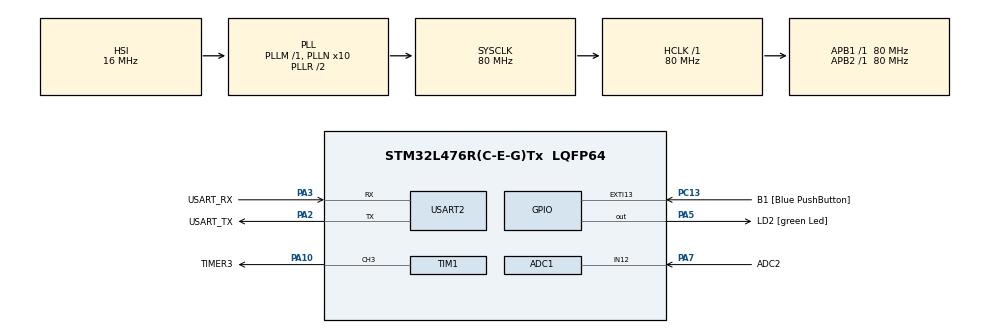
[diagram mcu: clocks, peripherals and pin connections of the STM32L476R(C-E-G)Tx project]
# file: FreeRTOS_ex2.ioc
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ADC1.Channel-1\#ChannelRegularConversion=ADC_CHANNEL_12
ADC1.ClockPrescaler=ADC_CLOCK_ASYNC_DIV8
ADC1.DMAContinuousRequests=ENABLE
ADC1.ExternalTrigConv=ADC_EXTERNALTRIG_T6_TRGO
ADC1.NbrOfConversionFlag=1
ADC1.OffsetNumber-1\#ChannelRegularConversion=ADC_OFFSET_NONE
ADC1.Rank-1\#ChannelRegularConversion=1
ADC1.SamplingTime-1\#ChannelRegularConversion=ADC_SAMPLETIME_640CYCLES_5
ADC1.master=1
Dma.ADC1.0.Direction=DMA_PERIPH_TO_MEMORY
Dma.ADC1.0.Instance=DMA1_Channel1
Dma.ADC1.0.MemDataAlignment=DMA_MDATAALIGN_HALFWORD
Dma.ADC1.0.MemInc=DMA_MINC_ENABLE
Dma.ADC1.0.Mode=DMA_CIRCULAR
Dma.ADC1.0.PeriphDataAlignment=DMA_PDATAALIGN_HALFWORD
Dma.ADC1.0.PeriphInc=DMA_PINC_DISABLE
Dma.ADC1.0.Priority=DMA_PRIORITY_LOW
Dma.Request0=ADC1
Mcu.Family=STM32L4
Mcu.Name=STM32L476R(C-E-G)Tx
Mcu.Package=LQFP64
Mcu.UserConstants=TIM_PRESCALER,7999;TIM_PERIOD,9999
NVIC.DMA1_Channel1_IRQn=true\:0\:0\:false\:false\:true\:false\:true
NVIC.PriorityGroup=NVIC_PRIORITYGROUP_4
NVIC.TIM6_DAC_IRQn=true\:0\:0\:false\:false\:true\:true\:true
PA10.GPIO_Label=TIMER3
PA10.Signal=S_TIM1_CH3
PA13\ (JTMS-SWDIO).GPIO_Label=TMS
PA13\ (JTMS-SWDIO).Mode=Serial_Wire
PA13\ (JTMS-SWDIO).Signal=SYS_JTMS-SWDIO
PA14\ (JTCK-SWCLK).GPIO_Label=TCK
PA14\ (JTCK-SWCLK).Mode=Serial_Wire
PA14\ (JTCK-SWCLK).Signal=SYS_JTCK-SWCLK
PA2.GPIO_Label=USART_TX
PA2.GPIO_Mode=GPIO_MODE_AF_PP
PA2.GPIO_PuPd=GPIO_NOPULL
PA2.GPIO_Speed=GPIO_SPEED_FREQ_VERY_HIGH
PA2.Mode=Asynchronous
PA2.Signal=USART2_TX
PA3.GPIO_Label=USART_RX
PA3.GPIO_Mode=GPIO_MODE_AF_PP
PA3.GPIO_PuPd=GPIO_NOPULL
PA3.GPIO_Speed=GPIO_SPEED_FREQ_VERY_HIGH
PA3.Mode=Asynchronous
PA3.Signal=USART2_RX
PA5.GPIO_Label=LD2 [green Led]
PA5.GPIO_ModeDefaultOutputPP=GPIO_MODE_OUTPUT_PP
PA5.GPIO_PuPd=GPIO_NOPULL
PA5.GPIO_Speed=GPIO_SPEED_FREQ_LOW
PA5.Signal=GPIO_Output
PA7.GPIO_Label=ADC2
PA7.Signal=ADCx_IN12
PB3\ (JTDO-TRACESWO).GPIO_Label=SWO
PB3\ (JTDO-TRACESWO).Signal=SYS_JTDO-SWO
PC13.GPIO_Label=B1 [Blue PushButton]
PC13.GPIO_ModeDefaultEXTI=GPIO_MODE_IT_FALLING
PC13.GPIO_PuPd=GPIO_NOPULL
PC13.Signal=GPXTI13
PC14-OSC32_IN\ (PC14).Mode=LSE-External-Oscillator
PC14-OSC32_IN\ (PC14).Signal=RCC_OSC32_IN
PC15-OSC32_OUT\ (PC15).Mode=LSE-External-Oscillator
PC15-OSC32_OUT\ (PC15).Signal=RCC_OSC32_OUT
PH0-OSC_IN\ (PH0).Signal=RCC_OSC_IN
PH1-OSC_OUT\ (PH1).Signal=RCC_OSC_OUT
ProjectManager.HeapSize=0x200
ProjectManager.StackSize=0x400
ProjectManager.TargetToolchain=STM32CubeIDE
RCC.ADCFreq_Value=64000000
RCC.AHBFreq_Value=80000000
RCC.APB1Freq_Value=80000000
RCC.APB1TimFreq_Value=80000000
RCC.APB2Freq_Value=80000000
RCC.APB2TimFreq_Value=80000000
RCC.CortexFreq_Value=80000000
RCC.HCLKFreq_Value=80000000
RCC.HSE_VALUE=8000000
RCC.HSI_VALUE=16000000
RCC.MSI_VALUE=4000000
RCC.PLLN=10
RCC.PLLSourceVirtual=RCC_PLLSOURCE_HSI
RCC.PREFETCH_ENABLE=1
RCC.SYSCLKFreq_VALUE=80000000
RCC.SYSCLKSource=RCC_SYSCLKSOURCE_PLLCLK
RCC.USBFreq_Value=64000000
RCC.VCOOutputFreq_Value=160000000
SH.ADCx_IN12.0=ADC1_IN12,IN12-Single-Ended
SH.S_TIM1_CH3.0=TIM1_CH3,PWM Generation3 CH3
TIM1.Channel-PWM\ Generation3\ CH3=TIM_CHANNEL_3
TIM1.Period=5999
TIM1.Prescaler=39999
TIM1.Pulse-PWM\ Generation3\ CH3=2999
TIM6.Period=TIM_PERIOD
TIM6.Prescaler=TIM_PRESCALER
TIM6.TIM_MasterOutputTrigger=TIM_TRGO_UPDATE
USART2.VirtualMode-Asynchronous=VM_ASYNC
VP_TIM6_VS_ClockSourceINT.Mode=Enable_Timer
board=NUCLEO-L476RG

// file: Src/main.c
/* USER CODE BEGIN Header */
/**
 ******************************************************************************
 * @file           : main.c
 * @brief          : Main program body
 ******************************************************************************
 * @attention
 *
 * <h2><center>&copy; Copyright (c) 2019 STMicroelectronics.
 * All rights reserved.</center></h2>
 *
 * This software component is licensed by ST under BSD 3-Clause license,
 * the "License"; You may not use this file except in compliance with the
 * License. You may obtain a copy of the License at:
 *                        opensource.org/licenses/BSD-3-Clause
 *
 ******************************************************************************
 */
/* USER CODE END Header */
#include "main.h"
#include "adc.h"
#include "dma.h"
#include "tim.h"
#include "usart.h"
#include "gpio.h"

/* USER CODE BEGIN Includes */

// --> include all necessary headers for
// printf() redirection
// FreeRTOS related headers
/* USER CODE END Includes */

void SystemClock_Config(void);

/* USER CODE BEGIN 0 */

enum QueueStatus {
	QueueOK, QueueWriteProblem, QueueEmpty, QueueCantRead
};

enum QueueMessages {
	QueueMsgNoData, QueueMsgNewData, QueueMsgNewDataChange,
};

uint16_t measurement;
uint8_t queueError = QueueOK;
SemaphoreHandle_t mutex;
QueueHandle_t queue;

void measureTask(void *args) {
	TickType_t xLastWakeTime;
	BaseType_t xStatus;

	xLastWakeTime = xTaskGetTickCount();

	for (;;) {

	}
}

void commTask(void *args) {
	TickType_t xLastWakeTime;
	uint16_t measurement_local = 0;
	uint16_t flag_local;
	uint16_t histeresis = 0;
	BaseType_t queue_size;
	BaseType_t xStatus;

	xLastWakeTime = xTaskGetTickCount();

	for (;;) {

	}
}

/* USER CODE END 0 */

int main(void)
{

  /* MCU Configuration--------------------------------------------------------*/

  /* Reset of all peripherals, Initializes the Flash interface and the Systick. */
  HAL_Init();

  /* Configure the system clock */
  SystemClock_Config();

  /* Initialize all configured peripherals */
  MX_GPIO_Init();
  MX_DMA_Init();
  MX_USART2_UART_Init();
  MX_ADC1_Init();
  MX_TIM6_Init();
  MX_TIM1_Init();
  /* USER CODE BEGIN 2 */

	// --> start TIM1 to generate PWM signal on TIMER3 connector
	// --> start TIM6 in interrupt
	// --> start ADC1 in DMA mode
	// --> create a mutex
	// --> create a queue
	// --> create all necessary tasks
	printf("Starting!\r\n");

	// --> start FreeRTOS scheduler

  /* USER CODE END 2 */

  /* Infinite loop */
	while (1) {

	}
}

void SystemClock_Config(void)
{
  RCC_OscInitTypeDef RCC_OscInitStruct = {0};
  RCC_ClkInitTypeDef RCC_ClkInitStruct = {0};
  RCC_PeriphCLKInitTypeDef PeriphClkInit = {0};

  /** Initializes the RCC Oscillators according to the specified parameters
  * in the RCC_OscInitTypeDef structure.
  */
  RCC_OscInitStruct.OscillatorType = RCC_OSCILLATORTYPE_HSI;
  RCC_OscInitStruct.HSIState = RCC_HSI_ON;
  RCC_OscInitStruct.HSICalibrationValue = RCC_HSICALIBRATION_DEFAULT;
  RCC_OscInitStruct.PLL.PLLState = RCC_PLL_ON;
  RCC_OscInitStruct.PLL.PLLSource = RCC_PLLSOURCE_HSI;
  RCC_OscInitStruct.PLL.PLLM = 1;
  RCC_OscInitStruct.PLL.PLLN = 10;
  RCC_OscInitStruct.PLL.PLLP = RCC_PLLP_DIV7;
  RCC_OscInitStruct.PLL.PLLQ = RCC_PLLQ_DIV2;
  RCC_OscInitStruct.PLL.PLLR = RCC_PLLR_DIV2;
  if (HAL_RCC_OscConfig(&RCC_OscInitStruct) != HAL_OK)
  {
    Error_Handler();
  }
  /** Initializes the CPU, AHB and APB buses clocks
  */
  RCC_ClkInitStruct.ClockType = RCC_CLOCKTYPE_HCLK|RCC_CLOCKTYPE_SYSCLK
                              |RCC_CLOCKTYPE_PCLK1|RCC_CLOCKTYPE_PCLK2;
  RCC_ClkInitStruct.SYSCLKSource = RCC_SYSCLKSOURCE_PLLCLK;
  RCC_ClkInitStruct.AHBCLKDivider = RCC_SYSCLK_DIV1;
  RCC_ClkInitStruct.APB1CLKDivider = RCC_HCLK_DIV1;
  RCC_ClkInitStruct.APB2CLKDivider = RCC_HCLK_DIV1;

  if (HAL_RCC_ClockConfig(&RCC_ClkInitStruct, FLASH_LATENCY_4) != HAL_OK)
  {
    Error_Handler();
  }
  PeriphClkInit.PeriphClockSelection = RCC_PERIPHCLK_USART2|RCC_PERIPHCLK_ADC;
  PeriphClkInit.Usart2ClockSelection = RCC_USART2CLKSOURCE_PCLK1;
  PeriphClkInit.AdcClockSelection = RCC_ADCCLKSOURCE_PLLSAI1;
  PeriphClkInit.PLLSAI1.PLLSAI1Source = RCC_PLLSOURCE_HSI;
  PeriphClkInit.PLLSAI1.PLLSAI1M = 1;
  PeriphClkInit.PLLSAI1.PLLSAI1N = 8;
  PeriphClkInit.PLLSAI1.PLLSAI1P = RCC_PLLP_DIV7;
  PeriphClkInit.PLLSAI1.PLLSAI1Q = RCC_PLLQ_DIV2;
  PeriphClkInit.PLLSAI1.PLLSAI1R = RCC_PLLR_DIV2;
  PeriphClkInit.PLLSAI1.PLLSAI1ClockOut = RCC_PLLSAI1_ADC1CLK;
  if (HAL_RCCEx_PeriphCLKConfig(&PeriphClkInit) != HAL_OK)
  {
    Error_Handler();
  }
  /** Configure the main internal regulator output voltage
  */
  if (HAL_PWREx_ControlVoltageScaling(PWR_REGULATOR_VOLTAGE_SCALE1) != HAL_OK)
  {
    Error_Handler();
  }
}

void Error_Handler(void)
{
}

/************************ (C) COPYRIGHT STMicroelectronics *****END OF FILE****/
